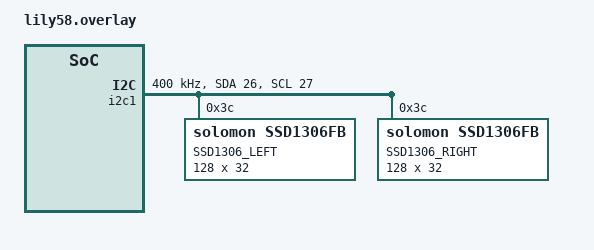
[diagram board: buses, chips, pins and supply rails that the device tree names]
/ {
    i2c1: i2c@40003000 {
        compatible = "nordic,nrf-twi";
        reg = <0x40003000>;
        label = "I2C_1";
        status = "okay";
        sda-pin = <26>;  // Adjust according to your board's pinout
        scl-pin = <27>;  // Adjust according to your board's pinout
        clock-frequency = <I2C_BITRATE_FAST>;

        oled_left: ssd1306@3c {
            compatible = "solomon,ssd1306fb";
            reg = <0x3c>;
            label = "SSD1306_LEFT";
            width = <128>;
            height = <32>;
            rotation = <180>;  // Change or remove this based on your needs
        };

        oled_right: ssd1306@3c {
            compatible = "solomon,ssd1306fb";
            reg = <0x3c>;
            label = "SSD1306_RIGHT";
            width = <128>;
            height = <32>;
            rotation = <0>;  // Change or remove this based on your needs
        };
    };
};
